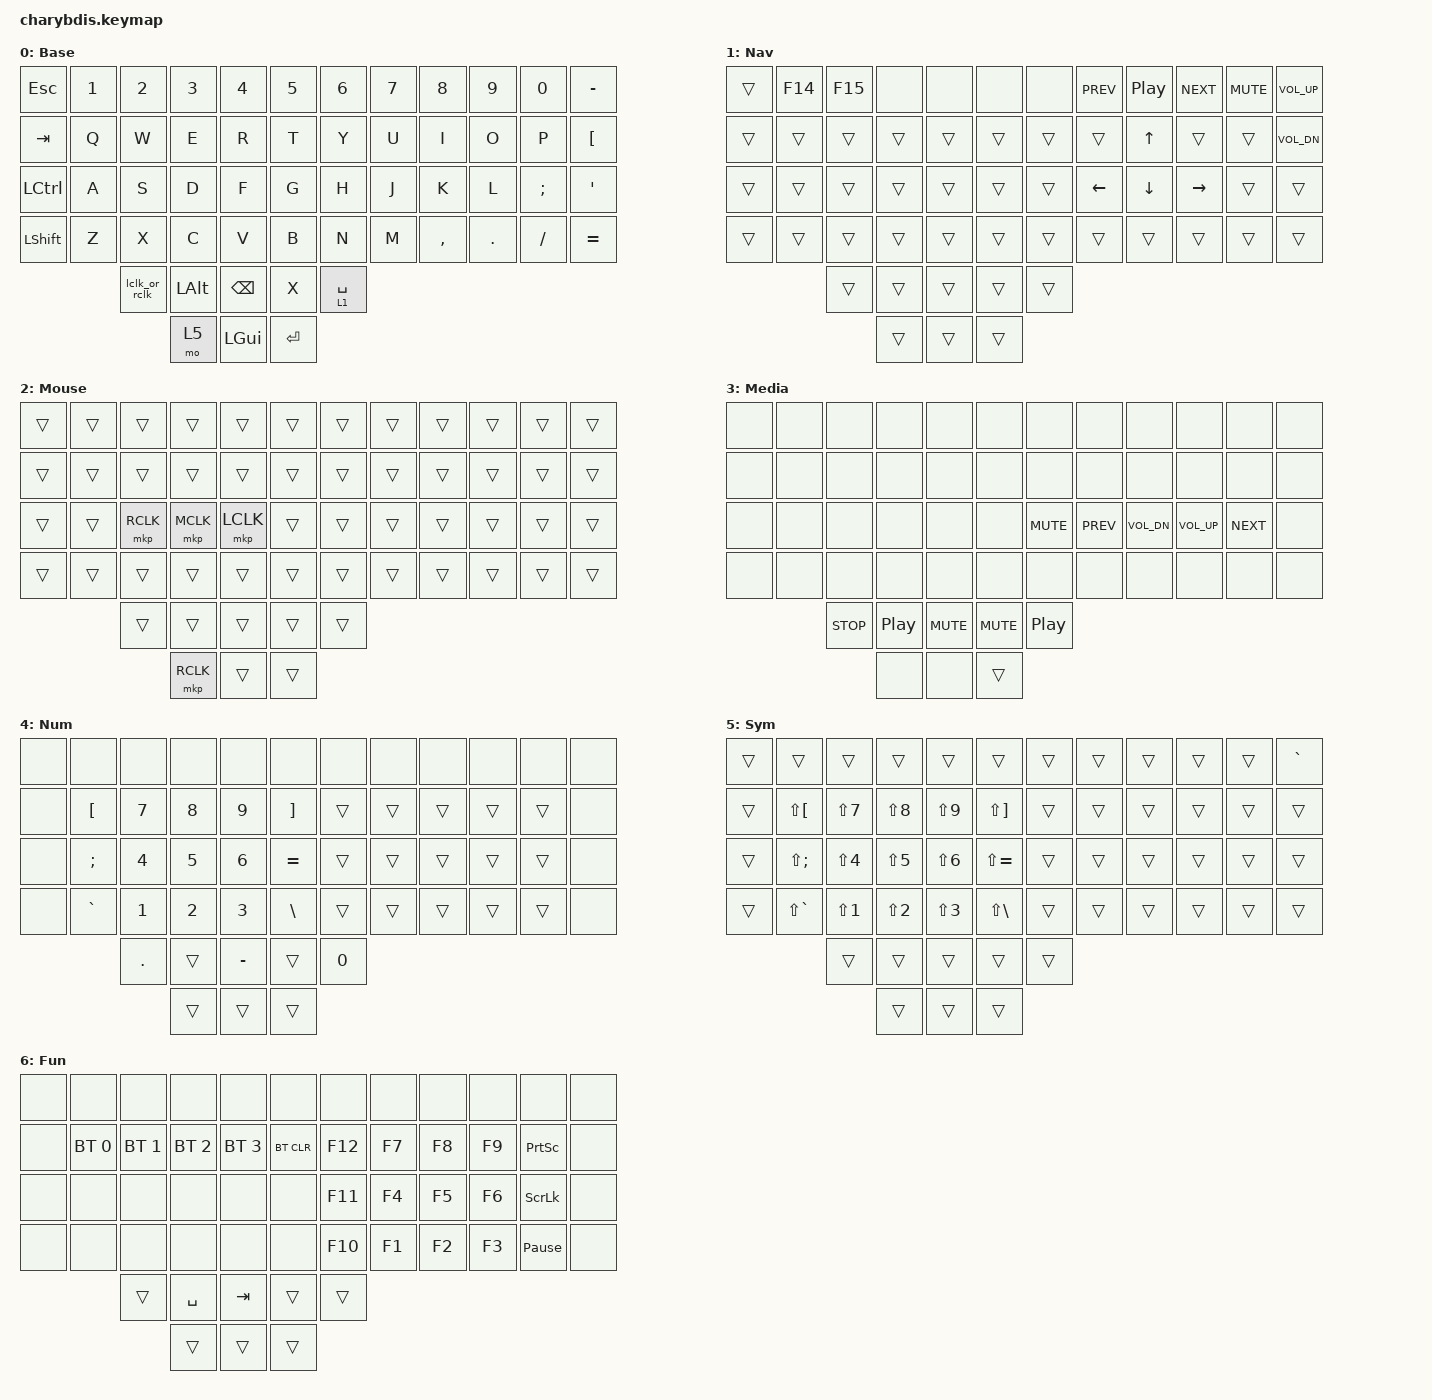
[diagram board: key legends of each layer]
#include <dt-bindings/zmk/mouse.h>
#include <behaviors.dtsi>
#include <dt-bindings/zmk/bt.h>
#include <dt-bindings/zmk/keys.h>
#include <dt-bindings/zmk/pointing.h>

&lt {
    tapping-term-ms = <200>;
    flavor = "balanced";
    quick-tap-ms = <175>;
};

/ {
    combos { compatible = "zmk,combos"; };

mouse_lt: mouse_layer_tap {
    compatible = "zmk,behavior-hold-tap";
    label = "MOUSE_LAYER_TAP";
    #binding-cells = <2>;
    flavor = "tap-preferred";
    tapping-term-ms = <280>;
    quick-tap-ms = <175>;
    bindings = <&mo>, <&mkp>;
};

lclk_or_rclk: lclk_or_rclk {
    compatible = "zmk,behavior-mod-morph";
    label = "LCLK_OR_RCLK";
    #binding-cells = <0>;
    bindings = <&mkp LCLK>, <&mkp RCLK>;
    mods = <(MOD_LSFT|MOD_RSFT)>;
};


    keymap {
        compatible = "zmk,keymap";

        Base {
            bindings = <
&kp ESC         &kp N1             &kp N2             &kp N3             &kp N4            &kp N5             &kp N6             &kp N7             &kp N8             &kp N9             &kp N0             &kp MINUS
&kp TAB         &kp Q              &kp W              &kp E              &kp R             &kp T              &kp Y              &kp U              &kp I              &kp O              &kp P              &kp LBKT
&kp LCTRL       &kp A              &kp S              &kp D              &kp F             &kp G              &kp H              &kp J              &kp K              &kp L              &kp SEMI           &kp APOS
&kp LSHFT       &kp Z              &kp X              &kp C              &kp V             &kp B              &kp N              &kp M              &kp COMMA          &kp DOT            &kp SLASH          &kp EQUAL
                                          &lclk_or_rclk &kp LALT          &kp BSPC          &kp X             &lt 1 SPACE
                                                         &mo 5             &kp LGUI          &kp RET
            >;
        };

        Nav {
            bindings = <
&trans          &kp F14            &kp F15            &none              &none             &none              &none              &kp C_PREV         &kp C_PP           &kp C_NEXT         &kp C_MUTE         &kp C_VOL_UP
&trans          &trans             &trans             &trans             &trans            &trans             &trans             &trans             &kp UP             &trans             &trans             &kp C_VOL_DN
&trans          &trans             &trans             &trans             &trans            &trans             &trans             &kp LEFT           &kp DOWN           &kp RIGHT          &trans             &trans
&trans          &trans             &trans             &trans             &trans            &trans             &trans             &trans             &trans             &trans             &trans             &trans
                                          &trans        &trans             &trans             &trans             &trans
                                                         &trans            &trans             &trans
            >;
        };

        Mouse {
            bindings = <
&trans          &trans             &trans             &trans             &trans            &trans             &trans             &trans             &trans             &trans             &trans             &trans
&trans          &trans             &trans             &trans             &trans            &trans             &trans             &trans             &trans             &trans             &trans             &trans
&trans          &trans             &mkp RCLK          &mkp MCLK          &mkp LCLK         &trans             &trans             &trans             &trans             &trans             &trans             &trans
&trans          &trans             &trans             &trans             &trans            &trans             &trans             &trans             &trans             &trans             &trans             &trans
                                          &trans        &trans             &trans             &trans             &trans
                                                         &mkp RCLK         &trans             &trans
            >;
        };

        Media {
            bindings = <
&none           &none              &none              &none              &none             &none              &none              &none              &none              &none              &none              &none
&none           &none              &none              &none              &none             &none              &none              &none              &none              &none              &none              &none
&none           &none              &none              &none              &none             &none              &kp C_MUTE         &kp C_PREV         &kp C_VOL_DN       &kp C_VOL_UP       &kp C_NEXT         &none
&none           &none              &none              &none              &none             &none              &none              &none              &none              &none              &none              &none
                                          &kp C_STOP    &kp C_PP           &kp C_MUTE         &kp C_MUTE         &kp C_PP
                                                         &none             &none              &trans
            >;
        };

        Num {
            bindings = <
&none           &none              &none              &none              &none             &none              &none              &none              &none              &none              &none              &none
&none           &kp LBKT           &kp N7             &kp N8             &kp N9            &kp RBKT           &trans             &trans             &trans             &trans             &trans             &none
&none           &kp SEMI           &kp N4             &kp N5             &kp N6            &kp EQUAL          &trans             &trans             &trans             &trans             &trans             &none
&none           &kp GRAVE          &kp N1             &kp N2             &kp N3            &kp BACKSLASH      &trans             &trans             &trans             &trans             &trans             &none
                                          &kp DOT       &trans             &kp MINUS         &trans             &kp N0
                                                         &trans            &trans             &trans
            >;
        };

        Sym {
            bindings = <
&trans          &trans             &trans             &trans             &trans            &trans             &trans             &trans             &trans             &trans             &trans             &kp GRAVE
&trans          &kp LS(LBKT)       &kp LS(N7)         &kp LS(N8)         &kp LS(N9)        &kp LS(RBKT)       &trans             &trans             &trans             &trans             &trans             &trans
&trans          &kp LS(SEMI)       &kp LS(N4)         &kp LS(N5)         &kp LS(N6)        &kp LS(EQUAL)      &trans             &trans             &trans             &trans             &trans             &trans
&trans          &kp LS(GRAVE)      &kp LS(N1)         &kp LS(N2)         &kp LS(N3)        &kp LS(BACKSLASH)  &trans             &trans             &trans             &trans             &trans             &trans
                                          &trans        &trans             &trans             &trans             &trans
                                                         &trans            &trans             &trans
            >;
        };

        Fun {
            bindings = <
&none           &none              &none              &none              &none             &none              &none              &none              &none              &none              &none              &none
&none           &bt BT_SEL 0       &bt BT_SEL 1       &bt BT_SEL 2       &bt BT_SEL 3      &bt BT_CLR         &kp F12            &kp F7             &kp F8             &kp F9             &kp PSCRN          &none
&none           &none              &none              &none              &none             &none              &kp F11            &kp F4             &kp F5             &kp F6             &kp SLCK           &none
&none           &none              &none              &none              &none             &none              &kp F10            &kp F1             &kp F2             &kp F3             &kp PAUSE_BREAK    &none
                                          &trans        &kp SPACE          &kp TAB            &trans             &trans
                                                         &trans            &trans             &trans
            >;
        };
    };
};
